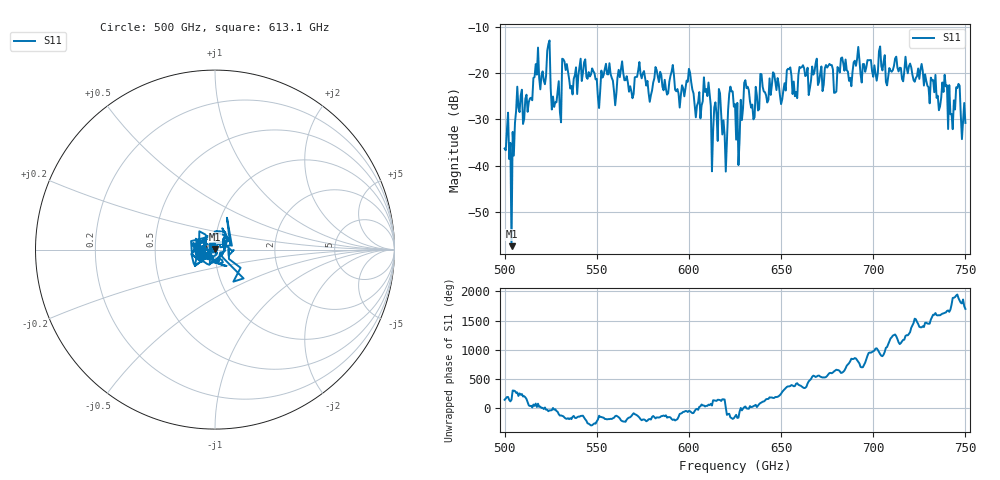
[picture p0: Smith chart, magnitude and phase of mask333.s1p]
!Created with skrf (http://scikit-rf.org).
# GHz S MA R 50.0
!freq magS11 angS11
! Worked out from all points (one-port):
!   401 points, 500 GHz to 750 GHz, reference 50 ohm
!   lowest |S11| = -57.4 dB at 503.8 GHz (marker M1), VSWR 1.00, Z = 49.9 + j0.0884 ohm
!   |S11| at or under -10 dB: start of sweep to end of sweep
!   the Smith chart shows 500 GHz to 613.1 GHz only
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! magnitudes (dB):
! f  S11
! 500 GHz  -36.3
! 503.8 GHz  -57.4
! 507.5 GHz  -27.5
! 513.8 GHz  -25.4
! 516.9 GHz  -18.0
! 523.8 GHz  -13.7
! 526.9 GHz  -27.3
! 531.2 GHz  -16.9
! 532.5 GHz  -17.5
! 562.5 GHz  -20.9
! 593.8 GHz  -23.4
! 609.4 GHz  -23.4
! 612.5 GHz  -41.2
! 617.5 GHz  -28.7
! 619.4 GHz  -33.3
! 622.5 GHz  -22.9
! 625 GHz  -26.7
! 626.2 GHz  -26.4
! 631.2 GHz  -23.2
! 634.4 GHz  -26.8
! 656.2 GHz  -24.5
! 687.5 GHz  -21.0
! 718.8 GHz  -20.0
! 735.6 GHz  -28.0
! 738.8 GHz  -20.3
! 741.9 GHz  -28.9
! 745.6 GHz  -23.2
! 750 GHz  -30.8
